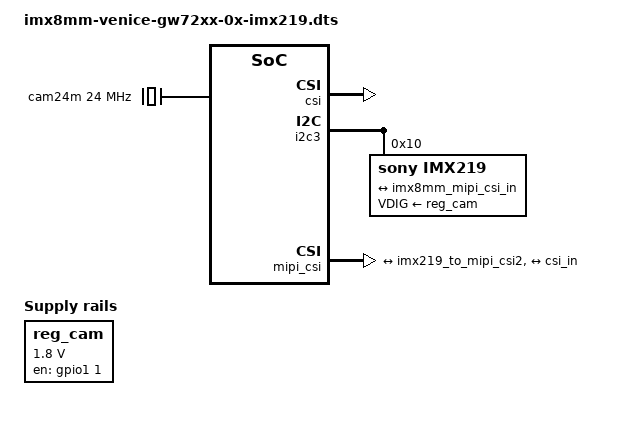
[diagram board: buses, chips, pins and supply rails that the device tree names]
// SPDX-License-Identifier: (GPL-2.0+ OR MIT)
/*
 * Copyright 2022 Gateworks Corporation
 */

#include <dt-bindings/gpio/gpio.h>

#include "imx8mm-pinfunc.h"

/dts-v1/;
/plugin/;

&{/} {
	compatible = "gw,imx8mm-gw72xx-0x", "fsl,imx8mm";

	reg_cam: regulator-cam {
		pinctrl-names = "default";
		pinctrl-0 = <&pinctrl_reg_cam>;
		compatible = "regulator-fixed";
		regulator-name = "reg_cam";
		gpio = <&gpio1 1 GPIO_ACTIVE_HIGH>;
		enable-active-high;
		regulator-min-microvolt = <1800000>;
		regulator-max-microvolt = <1800000>;
	};

	cam24m: cam24m {
		compatible = "fixed-clock";
		#clock-cells = <0>;
		clock-frequency = <24000000>;
		clock-output-names = "cam24m";
	};
};

&csi {
	status = "okay";
};

&i2c3 {
	#address-cells = <1>;
	#size-cells = <0>;

	imx219: sensor@10 {
		compatible = "sony,imx219";
		reg = <0x10>;
		clocks = <&cam24m>;
		VDIG-supply = <&reg_cam>;

		port {
			/* MIPI CSI-2 bus endpoint */
			imx219_to_mipi_csi2: endpoint {
				remote-endpoint = <&imx8mm_mipi_csi_in>;
				clock-lanes = <0>;
				data-lanes = <1 2>;
				link-frequencies = /bits/ 64 <456000000>;
			};
		};
	};
};

&mipi_csi {
	status = "okay";

	ports {
		#address-cells = <1>;
		#size-cells = <0>;

		port@0 {
			reg = <0>;

			imx8mm_mipi_csi_in: endpoint {
				remote-endpoint = <&imx219_to_mipi_csi2>;
				data-lanes = <1 2>;
			};
		};

		port@1 {
			reg = <1>;

			imx8mm_mipi_csi_out: endpoint {
				remote-endpoint = <&csi_in>;
			};
		};
	};
};

&iomuxc {
	pinctrl_reg_cam: regcamgrp {
		fsl,pins = <
			MX8MM_IOMUXC_GPIO1_IO01_GPIO1_IO1	0x41
		>;
	};
};
